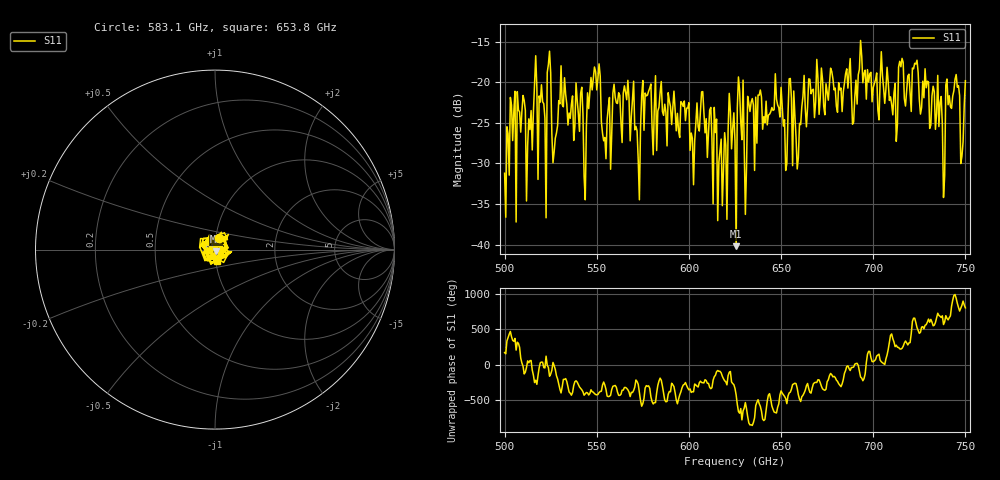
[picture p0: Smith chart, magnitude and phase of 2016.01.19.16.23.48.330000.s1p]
!Created with skrf (http://scikit-rf.org).
# GHz S RI R 50.0
!freq ReS11 ImS11
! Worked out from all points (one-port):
!   401 points, 500 GHz to 750 GHz, reference 50 ohm
!   lowest |S11| = -40.2 dB at 625.6 GHz (marker M1), VSWR 1.02, Z = 50.4 - j0.896 ohm
!   |S11| at or under -10 dB: start of sweep to end of sweep
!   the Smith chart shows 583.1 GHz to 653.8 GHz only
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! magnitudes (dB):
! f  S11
! 500 GHz  -31.2
! 504.4 GHz  -27.2
! 513.1 GHz  -24.5
! 524.4 GHz  -16.2
! 526.9 GHz  -28.6
! 531.2 GHz  -22.8
! 543.8 GHz  -34.5
! 548.1 GHz  -19.5
! 553.8 GHz  -27.2
! 562.5 GHz  -21.6
! 566.2 GHz  -22.1
! 571.9 GHz  -26.0
! 578.1 GHz  -21.1
! 593.8 GHz  -23.8
! 607.5 GHz  -21.1
! 616.9 GHz  -28.4
! 625 GHz  -27.3
! 625.6 GHz  -40.2
! 656.2 GHz  -30.3
! 659.4 GHz  -29.3
! 666.2 GHz  -21.4
! 687.5 GHz  -17.1
! 718.8 GHz  -19.2
! 737.5 GHz  -25.2
! 740.6 GHz  -22.8
! 745.6 GHz  -20.6
! 748.1 GHz  -29.1
! 750 GHz  -19.8
